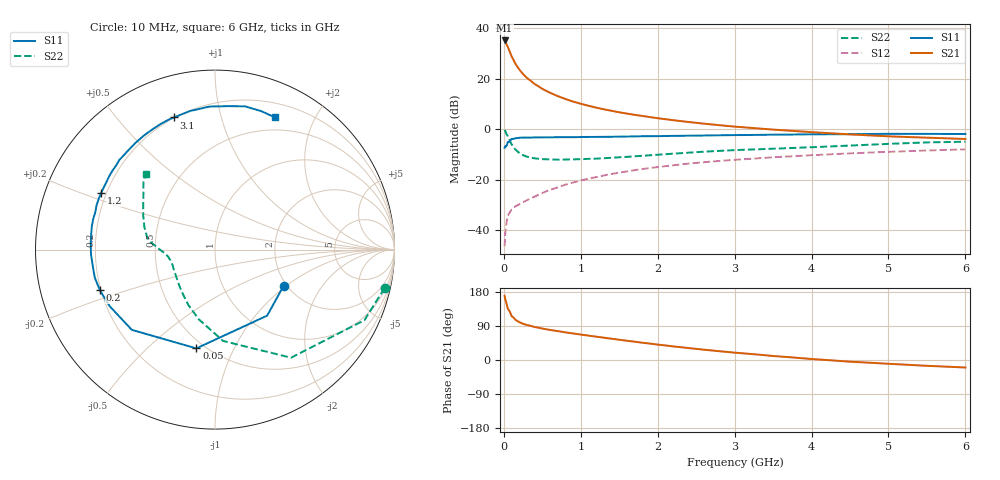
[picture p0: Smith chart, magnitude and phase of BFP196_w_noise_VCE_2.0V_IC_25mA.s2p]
! Infineon Technologies  Discrete & RF Semiconductors
! BFP196
! VCE =  2.0 V,  IC =  25 mA
! Common Emitter S-Parameters:  Jan 2017
# GHz  S  MA  R  50
!  f  S11  S21  S12  S22
! GHz  MAG  ANG  MAG  ANG  MAG  ANG  MAG  ANG
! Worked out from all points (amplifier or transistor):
!   77 points, 10 MHz to 6 GHz, reference 50 ohm
!   highest |S21| = 35.1 dB at 10 MHz (marker M1)
!   |S21| within 3 dB of that: start of sweep to 57.38 MHz
!   unconditionally stable (mu >= 1): 672.3 MHz to 2.533 GHz
!   at 130 MHz: K = 0.45, MSG = 29.1 dB, |S12| = -31.0 dB
!   at 2.2 GHz: K = 1.02, MAG = 8.1 dB, |S12| = -14.2 dB
!   at 6 GHz: K = 0.96, MSG = 2.0 dB, |S12| = -7.9 dB
!   lowest NFmin = 1.15 dB at 450 MHz
!   S11 on the Smith chart (normalised r, x): 10 MHz: 1.93, -0.96; 50 MHz: 0.45, -0.72; 200 MHz: 0.20, -0.16; 1.2 GHz: 0.18, +0.23; 3.1 GHz: 0.20, +0.72; 6 GHz: 0.35, +1.49
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0.01  0.4323 -27.8  57.11 169.3  0.0049 77.6  0.9687 -12.8
0.02  0.4688 -51.7  55.1 159.4  0.0093 72.5  0.9209 -25.3
0.05  0.5601 -100.7  42.89 136.1  0.0194 55.3  0.7363 -54.9
0.1  0.6438 -136.0  27.85 116.0  0.0258 46.3  0.5106 -85.0
0.15  0.6664 -151.8  19.83 106.2  0.03 44.4  0.3983 -103.2
0.2  0.6803 -160.6  15.27 100.0  0.0328 46.0  0.3419 -115.8
0.25  0.6877 -166.9  12.34 95.5  0.0363 47.7  0.3081 -125.0
0.3  0.6869 -171.2  10.37 92.4  0.0396 50.6  0.2877 -132.6
0.4  0.6913 -177.8  7.863 87.1  0.0467 53.9  0.2669 -142.9
0.5  0.6932 177.1  6.308 83.0  0.0551 56.5  0.2575 -150.1
0.6  0.6951 172.9  5.283 79.4  0.0636 58.1  0.2544 -155.4
0.7  0.6983 169.4  4.534 76.3  0.071 59.2  0.2512 -159.6
0.9  0.6986 162.7  3.537 70.0  0.0887 59.8  0.2548 -165.2
1.1  0.707 156.5  2.923 64.4  0.1059 59.0  0.2606 -169.3
1.2  0.7079 153.5  2.683 61.5  0.1137 58.1  0.263 -171.1
1.6  0.721 142.4  2.046 50.8  0.1473 54.6  0.2852 -176.6
2.1  0.7372 129.0  1.586 38.4  0.187 49.0  0.3221 177.8
2.6  0.755 117.6  1.294 27.2  0.2237 42.7  0.3615 173.1
3.1  0.7711 107.3  1.101 17.8  0.2553 36.5  0.393 167.2
4.1  0.7976 90.6  0.862 1.3  0.3132 24.7  0.4492 152.9
5.1  0.8142 76.8  0.718 -11.0  0.3635 13.1  0.5226 139.8
6  0.8089 65.7  0.644 -19.8  0.4022 3.1  0.568 132.4
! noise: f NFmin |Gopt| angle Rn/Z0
0.45  1.15  0.34  164  0.05
0.9  1.34  0.45  -176  0.06
1.9  2.21  0.68  -136  0.24
2.4  2.64  0.71  -122  0.59
